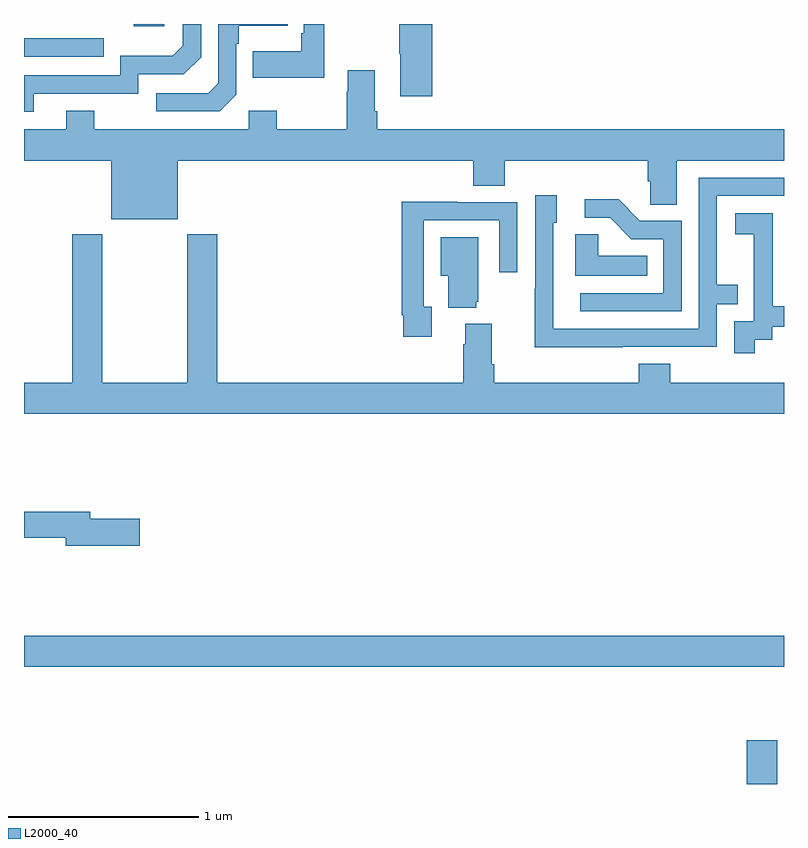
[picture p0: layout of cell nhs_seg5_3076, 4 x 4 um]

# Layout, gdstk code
import gdstk
lib = gdstk.Library(unit=1e-6, precision=1e-09)
def R(c, l, rs):  # rectangles x0, y0, x1, y1
    for r in rs: c.add(gdstk.rectangle(r[:2], r[2:], *l))
def P(c, l, *ps):  # polygons
    for p in ps: c.add(gdstk.Polygon(p, *l))
L2000_40 = (2000, 40)

nhs_seg5_3076 = lib.new_cell('nhs_seg5_3076')
R(nhs_seg5_3076, L2000_40, [(292.805,866.799,292.965,867.028), (289,867.416,293,867.58), (289,870.627,289.421,870.723), (289.577,870.788,289.738,870.799)])
P(nhs_seg5_3076, L2000_40, [(290.118,870.426),(290.118,870.695),(290.131,870.695),(290.131,870.791),(290.387,870.791),(290.387,870.799),(290.022,870.799),(290.022,870.486),(289.971,870.435),(289.695,870.435),(289.695,870.339),(290.031,870.339)],
  [(291.149,870.799),(290.974,870.799),(290.974,870.643),(290.981,870.643),(290.981,870.42),(291.149,870.42)],
  [(290.581,870.799),(290.472,870.799),(290.472,870.751),(290.46,870.751),(290.46,870.655),(290.203,870.655),(290.203,870.515),(290.581,870.515)],
  [(289.051,870.432),(289.602,870.432),(289.602,870.534),(289.842,870.534),(289.932,870.624),(289.932,870.799),(289.836,870.799),(289.836,870.684),(289.783,870.631),(289.506,870.631),(289.506,870.528),(289,870.528),(289,870.336),(289.051,870.336)],
  [(289.81,870.08),(291.365,870.08),(291.365,869.947),(291.53,869.947),(291.53,870.08),(292.283,870.08),(292.283,869.971),(292.296,869.971),(292.296,869.848),(292.435,869.848),(292.435,870.08),(293,870.08),(293,870.244),(290.858,870.244),(290.858,870.34),(290.845,870.34),(290.845,870.556),(290.705,870.556),(290.705,870.443),(290.698,870.443),(290.698,870.244),(290.331,870.244),(290.331,870.343),(290.184,870.343),(290.184,870.244),(289.371,870.244),(289.371,870.343),(289.223,870.343),(289.223,870.244),(289,870.244),(289,870.08),(289.46,870.08),(289.46,869.771),(289.81,869.771)],
  [(292.151,869.1),(292.647,869.1),(292.647,869.325),(292.757,869.325),(292.757,869.426),(292.647,869.426),(292.647,869.895),(293,869.895),(293,869.991),(292.551,869.991),(292.551,869.196),(291.786,869.196),(291.786,869.754),(291.805,869.754),(291.805,869.899),(291.69,869.899),(291.69,869.405),(291.688,869.405),(291.688,869.099),(292.151,869.099)],
  [(292.461,869.763),(292.242,869.763),(292.129,869.876),(291.951,869.876),(291.951,869.778),(292.085,869.778),(292.196,869.667),(292.365,869.667),(292.365,869.382),(291.927,869.382),(291.927,869.286),(292.461,869.286)],
  [(291.145,869.31),(291.105,869.31),(291.105,869.766),(291.501,869.766),(291.501,869.493),(291.597,869.493),(291.597,869.862),(291.281,869.862),(291.281,869.864),(290.989,869.864),(290.989,869.266),(290.997,869.266),(290.997,869.154),(291.145,869.154)],
  [(292.846,869.137),(292.938,869.137),(292.938,869.205),(293,869.205),(293,869.314),(292.94,869.314),(292.94,869.597),(292.941,869.597),(292.941,869.803),(292.743,869.803),(292.743,869.693),(292.841,869.693),(292.841,869.465),(292.842,869.465),(292.842,869.235),(292.737,869.235),(292.737,869.067),(292.846,869.067)],
  [(292.28,869.578),(292.023,869.578),(292.023,869.693),(291.902,869.693),(291.902,869.474),(292.28,869.474)],
  [(293,868.912),(292.4,868.912),(292.4,869.011),(292.235,869.011),(292.235,868.912),(291.476,868.912),(291.476,869.008),(291.463,869.008),(291.463,869.221),(291.323,869.221),(291.323,869.114),(291.311,869.114),(291.311,868.912),(290.018,868.912),(290.018,869.692),(289.858,869.692),(289.858,868.912),(289.413,868.912),(289.413,869.692),(289.253,869.692),(289.253,868.912),(289,868.912),(289,868.748),(293,868.748)],
  [(291.38,869.337),(291.391,869.337),(291.391,869.677),(291.194,869.677),(291.194,869.474),(291.233,869.474),(291.233,869.306),(291.38,869.306)],
  [(289.609,868.196),(289.348,868.196),(289.348,868.232),(289,868.232),(289,868.096),(289.22,868.096),(289.22,868.054),(289.609,868.054)])

lib.write_gds('nhs_seg5_3076.gds')
